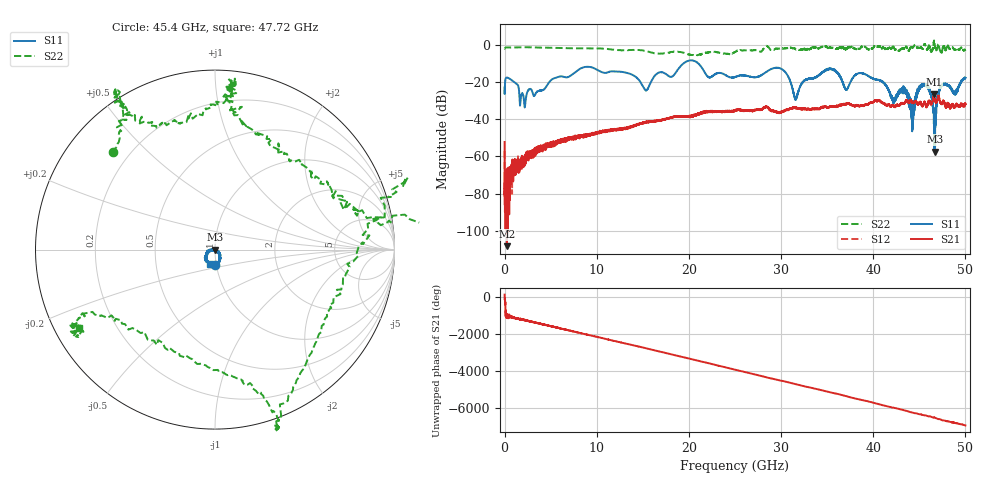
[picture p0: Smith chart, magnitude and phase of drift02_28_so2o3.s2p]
!Created with skrf (http://scikit-rf.org).
# Hz S RI R 50.0
!freq ReS11 ImS11 ReS21 ImS21 ReS12 ImS12 ReS22 ImS22
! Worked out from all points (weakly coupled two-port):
!   10001 points, 300 kHz to 50 GHz, reference 50 ohm
!   highest |S21| = -26.63 dB at 46.6 GHz (marker M1); lowest = -108.2 dB at 245.3 MHz (marker M2)
!   lowest |S11| = -57.4 dB at 46.68 GHz (marker M3), VSWR 1.00, Z = 50.1 - j0.013 ohm
!   |S11| at or under -10 dB: start of sweep to 19.42 GHz; 21.01 GHz to end of sweep
!   |S22| runs from -5.7 to 2.3 dB; largest |S21 - S12| = 0.0041
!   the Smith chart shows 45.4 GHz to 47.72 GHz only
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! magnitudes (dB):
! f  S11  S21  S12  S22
! 300 kHz  -22.9  -52.2  -57.3  -2.1
! 245.3 MHz  -17.6  -108.2  -83.5  -1.4
! 2.185 GHz  -33.7  -63.2  -60.6  -1.3
! 8.335 GHz  -12.5  -48.7  -48.8  -1.9
! 15.34 GHz  -24.4  -41.3  -41.7  -3.4
! 16.67 GHz  -15.1  -40.9  -40.7  -4.7
! 20.29 GHz  -8.4  -38.7  -38.1  -5.5
! 25 GHz  -17.4  -35.6  -35.4  -3.9
! 29.86 GHz  -12.6  -36.4  -36.3  -2.0
! 31.58 GHz  -29.2  -33.9  -33.9  -2.4
! 33.34 GHz  -18.2  -34.4  -34.4  -1.6
! 35.58 GHz  -13.1  -33.2  -33.2  -1.6
! 37.1 GHz  -24.1  -31.9  -31.7  -2.3
! 38.76 GHz  -15.3  -32.7  -32.7  -1.0
! 41.67 GHz  -24.3  -32.1  -32.2  -1.9
! 43.42 GHz  -24.3  -31.4  -31.6  -1.9
! 44.24 GHz  -34.2  -31.0  -31.0  -1.4
! 45.68 GHz  -21.4  -32.2  -32.2  -0.6
! 46.6 GHz  -41.0  -26.6  -26.8  2.1
! 46.68 GHz  -57.4  -28.9  -28.8  0.1
! 47.46 GHz  -21.7  -31.7  -31.9  -3.7
! 50 GHz  -17.8  -31.8  -31.2  -2.7
